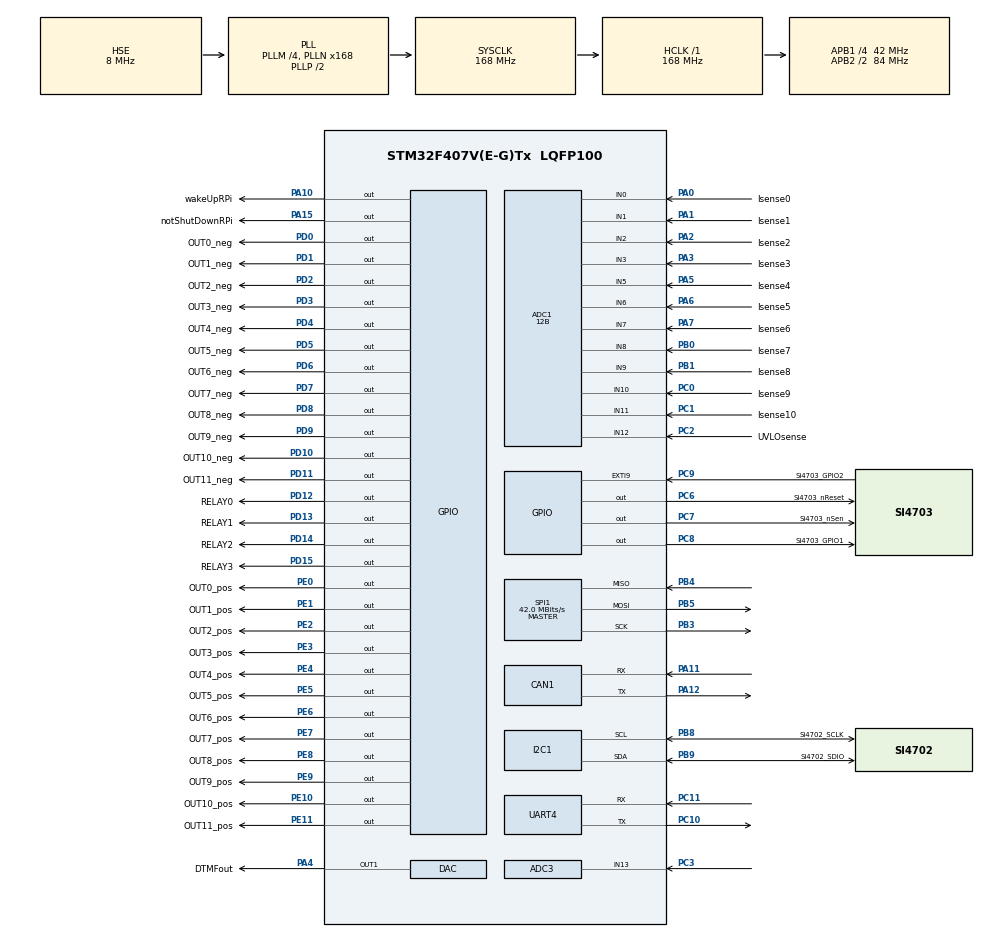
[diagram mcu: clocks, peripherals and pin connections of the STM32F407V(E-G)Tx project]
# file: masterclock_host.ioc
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ADC1.Channel-0\#ChannelRegularConversion=ADC_CHANNEL_0
ADC1.Channel-1\#ChannelRegularConversion=ADC_CHANNEL_1
ADC1.Channel-10\#ChannelRegularConversion=ADC_CHANNEL_11
ADC1.Channel-11\#ChannelRegularConversion=ADC_CHANNEL_12
ADC1.Channel-2\#ChannelRegularConversion=ADC_CHANNEL_2
ADC1.Channel-3\#ChannelRegularConversion=ADC_CHANNEL_3
ADC1.Channel-4\#ChannelRegularConversion=ADC_CHANNEL_5
ADC1.Channel-5\#ChannelRegularConversion=ADC_CHANNEL_6
ADC1.Channel-6\#ChannelRegularConversion=ADC_CHANNEL_7
ADC1.Channel-7\#ChannelRegularConversion=ADC_CHANNEL_8
ADC1.Channel-8\#ChannelRegularConversion=ADC_CHANNEL_9
ADC1.Channel-9\#ChannelRegularConversion=ADC_CHANNEL_10
ADC1.ContinuousConvMode=ENABLE
ADC1.DMAContinuousRequests=ENABLE
ADC1.DiscontinuousConvMode=DISABLE
ADC1.ExternalTrigConv=ADC_EXTERNALTRIGCONV_T2_TRGO
ADC1.NbrOfConversion=12
ADC1.NbrOfConversionFlag=1
ADC1.Rank-0\#ChannelRegularConversion=1
ADC1.Rank-1\#ChannelRegularConversion=2
ADC1.Rank-10\#ChannelRegularConversion=11
ADC1.Rank-11\#ChannelRegularConversion=12
ADC1.Rank-2\#ChannelRegularConversion=3
ADC1.Rank-3\#ChannelRegularConversion=4
ADC1.Rank-4\#ChannelRegularConversion=5
ADC1.Rank-5\#ChannelRegularConversion=6
ADC1.Rank-6\#ChannelRegularConversion=7
ADC1.Rank-7\#ChannelRegularConversion=8
ADC1.Rank-8\#ChannelRegularConversion=9
ADC1.Rank-9\#ChannelRegularConversion=10
ADC1.Resolution=ADC_RESOLUTION_12B
ADC1.SamplingTime-0\#ChannelRegularConversion=ADC_SAMPLETIME_480CYCLES
ADC1.SamplingTime-1\#ChannelRegularConversion=ADC_SAMPLETIME_480CYCLES
ADC1.SamplingTime-10\#ChannelRegularConversion=ADC_SAMPLETIME_3CYCLES
ADC1.SamplingTime-11\#ChannelRegularConversion=ADC_SAMPLETIME_3CYCLES
ADC1.SamplingTime-2\#ChannelRegularConversion=ADC_SAMPLETIME_480CYCLES
ADC1.SamplingTime-3\#ChannelRegularConversion=ADC_SAMPLETIME_480CYCLES
ADC1.SamplingTime-4\#ChannelRegularConversion=ADC_SAMPLETIME_480CYCLES
ADC1.SamplingTime-5\#ChannelRegularConversion=ADC_SAMPLETIME_3CYCLES
ADC1.SamplingTime-6\#ChannelRegularConversion=ADC_SAMPLETIME_3CYCLES
ADC1.SamplingTime-7\#ChannelRegularConversion=ADC_SAMPLETIME_3CYCLES
ADC1.SamplingTime-8\#ChannelRegularConversion=ADC_SAMPLETIME_3CYCLES
ADC1.SamplingTime-9\#ChannelRegularConversion=ADC_SAMPLETIME_3CYCLES
ADC1.ScanConvMode=ENABLE
ADC1.master=1
ADC2.Channel-3\#ChannelRegularConversion=ADC_CHANNEL_13
ADC2.ContinuousConvMode=ENABLE
ADC2.EOCSelection=ADC_EOC_SEQ_CONV
ADC2.EnableAnalogWatchDog=true
ADC2.ExternalTrigConv=ADC_EXTERNALTRIGCONV_T8_TRGO
ADC2.HighThreshold=4095
ADC2.ITMode=ENABLE
ADC2.LowThreshold=3000
ADC2.NbrOfConversion=1
ADC2.NbrOfConversionFlag=1
ADC2.Rank-3\#ChannelRegularConversion=1
ADC2.SamplingTime-3\#ChannelRegularConversion=ADC_SAMPLETIME_3CYCLES
ADC2.WatchdogChannel=ADC_CHANNEL_13
ADC3.Channel-0\#ChannelRegularConversion=ADC_CHANNEL_13
ADC3.EnableAnalogWatchDog=false
ADC3.NbrOfConversionFlag=1
ADC3.Rank-0\#ChannelRegularConversion=1
ADC3.SamplingTime-0\#ChannelRegularConversion=ADC_SAMPLETIME_3CYCLES
CAN1.CalculateTimeQuantum=380.95238095238096
Dma.ADC1.0.Direction=DMA_PERIPH_TO_MEMORY
Dma.ADC1.0.FIFOMode=DMA_FIFOMODE_ENABLE
Dma.ADC1.0.FIFOThreshold=DMA_FIFO_THRESHOLD_FULL
Dma.ADC1.0.Instance=DMA2_Stream0
Dma.ADC1.0.MemBurst=DMA_MBURST_SINGLE
Dma.ADC1.0.MemDataAlignment=DMA_MDATAALIGN_HALFWORD
Dma.ADC1.0.MemInc=DMA_MINC_ENABLE
Dma.ADC1.0.Mode=DMA_CIRCULAR
Dma.ADC1.0.PeriphBurst=DMA_PBURST_SINGLE
Dma.ADC1.0.PeriphDataAlignment=DMA_PDATAALIGN_HALFWORD
Dma.ADC1.0.PeriphInc=DMA_PINC_DISABLE
Dma.ADC1.0.Priority=DMA_PRIORITY_MEDIUM
Dma.Request0=ADC1
FREERTOS.Tasks01=linesControl,0,1024,StartLinesControl,Default,NULL,Dynamic,NULL,NULL;lineSensorTask,0,256,StartLineSensorTask,Default,NULL,Dynamic,NULL,NULL;uartTask,0,128,StartUartTask,Default,NULL,Dynamic,NULL,NULL;uvloTask,0,128,startUVLOTask,Default,NULL,Dynamic,NULL,NULL;si4703_Task,0,128,StartSi4703_Task,Default,NULL,Dynamic,NULL,NULL
FREERTOS.configTOTAL_HEAP_SIZE=32000
I2C1.DualAddressMode=I2C_DUALADDRESS_DISABLE
I2C1.GeneralCallMode=I2C_GENERALCALL_DISABLE
I2C1.I2C_Mode=I2C_Standard
I2C1.OwnAddress=0
Mcu.Family=STM32F4
Mcu.Name=STM32F407V(E-G)Tx
Mcu.Package=LQFP100
NVIC.ADC_IRQn=true\:5\:0\:false\:false\:true\:true\:true\:true
NVIC.DMA2_Stream0_IRQn=true\:5\:0\:true\:false\:true\:true\:false\:true
NVIC.EXTI9_5_IRQn=true\:5\:0\:false\:false\:true\:true\:true\:true
NVIC.PriorityGroup=NVIC_PRIORITYGROUP_4
NVIC.TIM1_UP_TIM10_IRQn=true\:0\:0\:false\:false\:true\:false\:false\:true
NVIC.TimeBase=TIM1_UP_TIM10_IRQn
NVIC.TimeBaseIP=TIM1
NVIC.UART4_IRQn=true\:5\:0\:false\:false\:true\:true\:true\:true
PA0-WKUP.GPIO_Label=Isense0
PA0-WKUP.Signal=ADCx_IN0
PA1.GPIO_Label=Isense1
PA1.Signal=ADCx_IN1
PA10.GPIO_Label=wakeUpRPi
PA10.Signal=GPIO_Output
PA11.Mode=Master
PA11.Signal=CAN1_RX
PA12.Mode=Master
PA12.Signal=CAN1_TX
PA13.Mode=Serial_Wire
PA13.Signal=SYS_JTMS-SWDIO
PA14.Mode=Serial_Wire
PA14.Signal=SYS_JTCK-SWCLK
PA15.GPIO_Label=notShutDownRPi
PA15.Signal=GPIO_Output
PA2.GPIO_Label=Isense2
PA2.Signal=ADCx_IN2
PA3.GPIO_Label=Isense3
PA3.Signal=ADCx_IN3
PA4.GPIO_Label=DTMFout
PA4.Signal=COMP_DAC1_group
PA5.GPIO_Label=Isense4
PA5.Signal=ADCx_IN5
PA6.GPIO_Label=Isense5
PA6.Signal=ADCx_IN6
PA7.GPIO_Label=Isense6
PA7.Signal=ADCx_IN7
PB0.GPIO_Label=Isense7
PB0.Signal=ADCx_IN8
PB1.GPIO_Label=Isense8
PB1.Signal=ADCx_IN9
PB3.Mode=Full_Duplex_Master
PB3.Signal=SPI1_SCK
PB4.Mode=Full_Duplex_Master
PB4.Signal=SPI1_MISO
PB5.Mode=Full_Duplex_Master
PB5.Signal=SPI1_MOSI
PB8.GPIO_Label=Si4702_SCLK
PB8.Mode=I2C
PB8.Signal=I2C1_SCL
PB9.GPIO_Label=Si4702_SDIO
PB9.Mode=I2C
PB9.Signal=I2C1_SDA
PC0.GPIO_Label=Isense9
PC0.Signal=ADCx_IN10
PC1.GPIO_Label=Isense10
PC1.Signal=ADCx_IN11
PC10.Mode=Asynchronous
PC10.Signal=UART4_TX
PC11.Mode=Asynchronous
PC11.Signal=UART4_RX
PC2.GPIO_Label=UVLOsense
PC2.Signal=ADCx_IN12
PC3.Signal=ADCx_IN13
PC6.GPIO_Label=Si4703_nReset
PC6.PinState=GPIO_PIN_SET
PC6.Signal=GPIO_Output
PC7.GPIO_Label=Si4703_nSen
PC7.GPIO_PuPd=GPIO_NOPULL
PC7.PinState=GPIO_PIN_SET
PC7.Signal=GPIO_Output
PC8.GPIO_Label=Si4703_GPIO1
PC8.Signal=GPIO_Output
PC9.GPIO_Label=Si4703_GPIO2
PC9.GPIO_ModeDefaultEXTI=GPIO_MODE_IT_FALLING
PC9.GPIO_PuPd=GPIO_PULLUP
PC9.Signal=GPXTI9
PD0.GPIO_Label=OUT0_neg
PD0.Signal=GPIO_Output
PD1.GPIO_Label=OUT1_neg
PD1.Signal=GPIO_Output
PD10.GPIO_Label=OUT10_neg
PD10.Signal=GPIO_Output
PD11.GPIO_Label=OUT11_neg
PD11.Signal=GPIO_Output
PD12.GPIO_Label=RELAY0
PD12.Signal=GPIO_Output
PD13.GPIO_Label=RELAY1
PD13.Signal=GPIO_Output
PD14.GPIO_Label=RELAY2
PD14.Signal=GPIO_Output
PD15.GPIO_Label=RELAY3
PD15.Signal=GPIO_Output
PD2.GPIO_Label=OUT2_neg
PD2.Signal=GPIO_Output
PD3.GPIO_Label=OUT3_neg
PD3.Signal=GPIO_Output
PD4.GPIO_Label=OUT4_neg
PD4.Signal=GPIO_Output
PD5.GPIO_Label=OUT5_neg
PD5.Signal=GPIO_Output
PD6.GPIO_Label=OUT6_neg
PD6.Signal=GPIO_Output
PD7.GPIO_Label=OUT7_neg
PD7.Signal=GPIO_Output
PD8.GPIO_Label=OUT8_neg
PD8.Signal=GPIO_Output
PD9.GPIO_Label=OUT9_neg
PD9.Signal=GPIO_Output
PE0.GPIO_Label=OUT0_pos
PE0.Signal=GPIO_Output
PE1.GPIO_Label=OUT1_pos
PE1.Signal=GPIO_Output
PE10.GPIO_Label=OUT10_pos
PE10.Signal=GPIO_Output
PE11.GPIO_Label=OUT11_pos
PE11.Signal=GPIO_Output
PE2.GPIO_Label=OUT2_pos
PE2.Signal=GPIO_Output
PE3.GPIO_Label=OUT3_pos
PE3.Signal=GPIO_Output
PE4.GPIO_Label=OUT4_pos
PE4.Signal=GPIO_Output
PE5.GPIO_Label=OUT5_pos
PE5.Signal=GPIO_Output
PE6.GPIO_Label=OUT6_pos
PE6.Signal=GPIO_Output
PE7.GPIO_Label=OUT7_pos
PE7.Signal=GPIO_Output
PE8.GPIO_Label=OUT8_pos
PE8.Signal=GPIO_Output
PE9.GPIO_Label=OUT9_pos
PE9.Signal=GPIO_Output
PH0-OSC_IN.Mode=HSE-External-Oscillator
PH0-OSC_IN.Signal=RCC_OSC_IN
PH1-OSC_OUT.Mode=HSE-External-Oscillator
PH1-OSC_OUT.Signal=RCC_OSC_OUT
ProjectManager.HeapSize=0x200
ProjectManager.StackSize=0x400
ProjectManager.TargetToolchain=STM32CubeIDE
RCC.48MHZClocksFreq_Value=84000000
RCC.AHBFreq_Value=168000000
RCC.APB1CLKDivider=RCC_HCLK_DIV4
RCC.APB1Freq_Value=42000000
RCC.APB1TimFreq_Value=84000000
RCC.APB2CLKDivider=RCC_HCLK_DIV2
RCC.APB2Freq_Value=84000000
RCC.APB2TimFreq_Value=168000000
RCC.CortexFreq_Value=168000000
RCC.HCLKFreq_Value=168000000
RCC.HSE_VALUE=8000000
RCC.HSI_VALUE=16000000
RCC.LSE_VALUE=32768
RCC.PLLM=4
RCC.PLLN=168
RCC.PLLSourceVirtual=RCC_PLLSOURCE_HSE
RCC.SYSCLKFreq_VALUE=168000000
RCC.SYSCLKSource=RCC_SYSCLKSOURCE_PLLCLK
RCC.VCOOutputFreq_Value=336000000
SH.ADCx_IN0.0=ADC1_IN0,IN0
SH.ADCx_IN1.0=ADC1_IN1,IN1
SH.ADCx_IN10.0=ADC1_IN10,IN10
SH.ADCx_IN11.0=ADC1_IN11,IN11
SH.ADCx_IN12.0=ADC1_IN12,IN12
SH.ADCx_IN13.0=ADC3_IN13,IN13
SH.ADCx_IN13.1=ADC2_IN13,IN13
SH.ADCx_IN2.0=ADC1_IN2,IN2
SH.ADCx_IN3.0=ADC1_IN3,IN3
SH.ADCx_IN5.0=ADC1_IN5,IN5
SH.ADCx_IN6.0=ADC1_IN6,IN6
SH.ADCx_IN7.0=ADC1_IN7,IN7
SH.ADCx_IN8.0=ADC1_IN8,IN8
SH.ADCx_IN9.0=ADC1_IN9,IN9
SH.COMP_DAC1_group.0=DAC_OUT1,DAC_OUT1
SPI1.CalculateBaudRate=42.0 MBits/s
SPI1.Direction=SPI_DIRECTION_2LINES
SPI1.Mode=SPI_MODE_MASTER
SPI1.VirtualType=VM_MASTER
TIM2.AutoReloadPreload=TIM_AUTORELOAD_PRELOAD_ENABLE
TIM2.Period=59999
TIM2.Prescaler=69
TIM2.TIM_MasterOutputTrigger=TIM_TRGO_UPDATE
TIM8.AutoReloadPreload=TIM_AUTORELOAD_PRELOAD_ENABLE
TIM8.Period=62449
TIM8.Prescaler=335
TIM8.TIM_MasterOutputTrigger=TIM_TRGO_UPDATE
UART4.VirtualMode=Asynchronous
VP_CRC_VS_CRC.Mode=CRC_Activate
VP_FREERTOS_VS_CMSIS_V1.Mode=CMSIS_V1
VP_SYS_VS_tim1.Mode=TIM1
VP_TIM2_VS_ClockSourceINT.Mode=Internal
VP_TIM8_VS_ClockSourceINT.Mode=Internal
board=custom

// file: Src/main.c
/* USER CODE BEGIN Header */
/**
 ******************************************************************************
 * @file           : main.c
 * @brief          : Main program body
 ******************************************************************************
 * @attention
 *
 * <h2><center>&copy; Copyright (c) 2019 STMicroelectronics.
 * All rights reserved.</center></h2>
 *
 * This software component is licensed by ST under BSD 3-Clause license,
 * the "License"; You may not use this file except in compliance with the
 * License. You may obtain a copy of the License at:
 *                        opensource.org/licenses/BSD-3-Clause
 *
 ******************************************************************************
 */
/* USER CODE END Header */

#include "main.h"
#include "cmsis_os.h"

/* USER CODE BEGIN Includes */
#include "message.h"
#include "clocklines.h"
#include "currentsensors.h"
#include "uartcmd.h"
#include "si4703.h"
/* USER CODE END Includes */

/* USER CODE BEGIN PTD */

extern uint8_t uartDataFrame[32];
extern uint16_t clockLines_pulseWidth;
extern uint8_t clockLines_isCountersEmpty;
extern ClockLineCurrentSensor clockLineCurrentSensor;
extern uint8_t CLOCKLINES_TOTAL;
volatile SemaphoreHandle_t uartSemaphoreHandle;
volatile SemaphoreHandle_t lineSensorSemaphoreHandle;
volatile SemaphoreHandle_t uvloSemaphoreHandle;
volatile SemaphoreHandle_t Si4703SemaphoreHandle;
volatile SemaphoreHandle_t Si4703MutexHandle;
portBASE_TYPE xHigherPriorityTaskWoken;
/* USER CODE END PTD */

ADC_HandleTypeDef hadc1;
ADC_HandleTypeDef hadc2;
ADC_HandleTypeDef hadc3;
DMA_HandleTypeDef hdma_adc1;

CAN_HandleTypeDef hcan1;

CRC_HandleTypeDef hcrc;

DAC_HandleTypeDef hdac;

I2C_HandleTypeDef hi2c1;

SPI_HandleTypeDef hspi1;

TIM_HandleTypeDef htim2;
TIM_HandleTypeDef htim8;

UART_HandleTypeDef huart4;

osThreadId linesControlHandle;
osThreadId lineSensorTaskHandle;
osThreadId uartTaskHandle;
osThreadId uvloTaskHandle;
osThreadId si4703_TaskHandle;

void SystemClock_Config(void);
static void MX_GPIO_Init(void);
static void MX_DMA_Init(void);
static void MX_ADC1_Init(void);
static void MX_ADC2_Init(void);
static void MX_ADC3_Init(void);
static void MX_CAN1_Init(void);
static void MX_CRC_Init(void);
static void MX_DAC_Init(void);
static void MX_SPI1_Init(void);
static void MX_UART4_Init(void);
static void MX_TIM2_Init(void);
static void MX_TIM8_Init(void);
static void MX_I2C1_Init(void);
void StartLinesControl(void const * argument);
void StartLineSensorTask(void const * argument);
void StartUartTask(void const * argument);
void startUVLOTask(void const * argument);
void StartSi4703_Task(void const * argument);

/* USER CODE BEGIN 0 */

void HAL_UART_RxCpltCallback(UART_HandleTypeDef* huart){
	static portBASE_TYPE xHigherPriorityTaskWoken;
	xHigherPriorityTaskWoken = pdFALSE;
	HAL_UART_Receive_IT(&huart4, uartDataFrame, sizeof(uartDataFrame));
	xSemaphoreGiveFromISR(uartSemaphoreHandle, &xHigherPriorityTaskWoken );
}
void HAL_ADC_ConvCpltCallback(ADC_HandleTypeDef* hadc)
{
	if (hadc->Instance==ADC1)
	{
		static uint8_t count=0;
		static portBASE_TYPE xHigherPriorityTaskWoken;
		xHigherPriorityTaskWoken = pdFALSE;
		if (count==5){
			count=0;
		}
		count++;
		//HAL_ADC_Start_DMA(hadc, (uint32_t*) clockLineCurrentSensor.adc_data, clockLineCurrentSensor.totalLines);
		xSemaphoreGiveFromISR(lineSensorSemaphoreHandle, &xHigherPriorityTaskWoken );
	}

}
void HAL_ADC_LevelOutOfWindowCallback(ADC_HandleTypeDef* hadc)
{
	if (hadc->Instance==ADC2){
		ADC2->CR1&=~ADC_CR1_AWDEN;												//disable AWD
		xSemaphoreGiveFromISR(uvloSemaphoreHandle, &xHigherPriorityTaskWoken);
	}

}
void HAL_GPIO_EXTI_Callback(uint16_t GPIO_Pin){
	if(GPIO_Pin==Si4703_GPIO2_Pin)
	{
		HAL_NVIC_DisableIRQ(EXTI9_5_IRQn);
		xSemaphoreGiveFromISR(Si4703SemaphoreHandle, &xHigherPriorityTaskWoken);
	}
}
/* USER CODE END 0 */

int main(void)
{
  /* USER CODE BEGIN 1 */
	CLOCKLINES_TOTAL=4;
  /* USER CODE END 1 */

  /* MCU Configuration--------------------------------------------------------*/

  /* Reset of all peripherals, Initializes the Flash interface and the Systick. */
  HAL_Init();

  /* Configure the system clock */
  SystemClock_Config();

  /* Initialize all configured peripherals */
  MX_GPIO_Init();
  MX_DMA_Init();
  MX_ADC1_Init();
  MX_ADC2_Init();
  MX_ADC3_Init();
  MX_CAN1_Init();
  MX_CRC_Init();
  MX_DAC_Init();
  MX_SPI1_Init();
  MX_UART4_Init();
  MX_TIM2_Init();
  MX_TIM8_Init();
  MX_I2C1_Init();
  /* USER CODE BEGIN 2 */
  notShutDownRPi_GPIO_Port->BSRR |= notShutDownRPi_Pin<<16;
  HAL_UART_Receive_IT(&huart4, uartDataFrame, sizeof(uartDataFrame));

  /* USER CODE END 2 */

  /* USER CODE BEGIN RTOS_SEMAPHORES */
  uartSemaphoreHandle = xSemaphoreCreateBinary();
  lineSensorSemaphoreHandle = xSemaphoreCreateBinary();
  uvloSemaphoreHandle = xSemaphoreCreateBinary();
  Si4703SemaphoreHandle = xSemaphoreCreateBinary();
  Si4703MutexHandle = xSemaphoreCreateMutex();
  xHigherPriorityTaskWoken = pdFALSE;
	/* add semaphores, ... */
  /* USER CODE END RTOS_SEMAPHORES */

  /* Create the thread(s) */
  /* definition and creation of linesControl */
  osThreadDef(linesControl, StartLinesControl, osPriorityNormal, 0, 1024);
  linesControlHandle = osThreadCreate(osThread(linesControl), NULL);

  /* definition and creation of lineSensorTask */
  osThreadDef(lineSensorTask, StartLineSensorTask, osPriorityNormal, 0, 256);
  lineSensorTaskHandle = osThreadCreate(osThread(lineSensorTask), NULL);

  /* definition and creation of uartTask */
  osThreadDef(uartTask, StartUartTask, osPriorityNormal, 0, 128);
  uartTaskHandle = osThreadCreate(osThread(uartTask), NULL);

  /* definition and creation of uvloTask */
  osThreadDef(uvloTask, startUVLOTask, osPriorityNormal, 0, 128);
  uvloTaskHandle = osThreadCreate(osThread(uvloTask), NULL);

  /* definition and creation of si4703_Task */
  osThreadDef(si4703_Task, StartSi4703_Task, osPriorityNormal, 0, 128);
  si4703_TaskHandle = osThreadCreate(osThread(si4703_Task), NULL);

  /* Start scheduler */
  osKernelStart();

  /* We should never get here as control is now taken by the scheduler */

  /* Infinite loop */
	while (1)
	{

	}
}

void SystemClock_Config(void)
{
  RCC_OscInitTypeDef RCC_OscInitStruct = {0};
  RCC_ClkInitTypeDef RCC_ClkInitStruct = {0};

  /** Configure the main internal regulator output voltage
  */
  __HAL_RCC_PWR_CLK_ENABLE();
  __HAL_PWR_VOLTAGESCALING_CONFIG(PWR_REGULATOR_VOLTAGE_SCALE1);
  /** Initializes the CPU, AHB and APB busses clocks
  */
  RCC_OscInitStruct.OscillatorType = RCC_OSCILLATORTYPE_HSE;
  RCC_OscInitStruct.HSEState = RCC_HSE_ON;
  RCC_OscInitStruct.PLL.PLLState = RCC_PLL_ON;
  RCC_OscInitStruct.PLL.PLLSource = RCC_PLLSOURCE_HSE;
  RCC_OscInitStruct.PLL.PLLM = 4;
  RCC_OscInitStruct.PLL.PLLN = 168;
  RCC_OscInitStruct.PLL.PLLP = RCC_PLLP_DIV2;
  RCC_OscInitStruct.PLL.PLLQ = 4;
  if (HAL_RCC_OscConfig(&RCC_OscInitStruct) != HAL_OK)
  {
    Error_Handler();
  }
  /** Initializes the CPU, AHB and APB busses clocks
  */
  RCC_ClkInitStruct.ClockType = RCC_CLOCKTYPE_HCLK|RCC_CLOCKTYPE_SYSCLK
                              |RCC_CLOCKTYPE_PCLK1|RCC_CLOCKTYPE_PCLK2;
  RCC_ClkInitStruct.SYSCLKSource = RCC_SYSCLKSOURCE_PLLCLK;
  RCC_ClkInitStruct.AHBCLKDivider = RCC_SYSCLK_DIV1;
  RCC_ClkInitStruct.APB1CLKDivider = RCC_HCLK_DIV4;
  RCC_ClkInitStruct.APB2CLKDivider = RCC_HCLK_DIV2;

  if (HAL_RCC_ClockConfig(&RCC_ClkInitStruct, FLASH_LATENCY_5) != HAL_OK)
  {
    Error_Handler();
  }
}

static void MX_ADC1_Init(void)
{

  ADC_ChannelConfTypeDef sConfig = {0};

  /** Configure the global features of the ADC (Clock, Resolution, Data Alignment and number of conversion)
  */
  hadc1.Instance = ADC1;
  hadc1.Init.ClockPrescaler = ADC_CLOCK_SYNC_PCLK_DIV4;
  hadc1.Init.Resolution = ADC_RESOLUTION_12B;
  hadc1.Init.ScanConvMode = ENABLE;
  hadc1.Init.ContinuousConvMode = ENABLE;
  hadc1.Init.DiscontinuousConvMode = DISABLE;
  hadc1.Init.ExternalTrigConvEdge = ADC_EXTERNALTRIGCONVEDGE_RISING;
  hadc1.Init.ExternalTrigConv = ADC_EXTERNALTRIGCONV_T2_TRGO;
  hadc1.Init.DataAlign = ADC_DATAALIGN_RIGHT;
  hadc1.Init.NbrOfConversion = 12;
  hadc1.Init.DMAContinuousRequests = ENABLE;
  hadc1.Init.EOCSelection = ADC_EOC_SINGLE_CONV;
  if (HAL_ADC_Init(&hadc1) != HAL_OK)
  {
    Error_Handler();
  }
  /** Configure for the selected ADC regular channel its corresponding rank in the sequencer and its sample time.
  */
  sConfig.Channel = ADC_CHANNEL_0;
  sConfig.Rank = 1;
  sConfig.SamplingTime = ADC_SAMPLETIME_480CYCLES;
  if (HAL_ADC_ConfigChannel(&hadc1, &sConfig) != HAL_OK)
  {
    Error_Handler();
  }
  /** Configure for the selected ADC regular channel its corresponding rank in the sequencer and its sample time.
  */
  sConfig.Channel = ADC_CHANNEL_1;
  sConfig.Rank = 2;
  if (HAL_ADC_ConfigChannel(&hadc1, &sConfig) != HAL_OK)
  {
    Error_Handler();
  }
  /** Configure for the selected ADC regular channel its corresponding rank in the sequencer and its sample time.
  */
  sConfig.Channel = ADC_CHANNEL_2;
  sConfig.Rank = 3;
  if (HAL_ADC_ConfigChannel(&hadc1, &sConfig) != HAL_OK)
  {
    Error_Handler();
  }
  /** Configure for the selected ADC regular channel its corresponding rank in the sequencer and its sample time.
  */
  sConfig.Channel = ADC_CHANNEL_3;
  sConfig.Rank = 4;
  if (HAL_ADC_ConfigChannel(&hadc1, &sConfig) != HAL_OK)
  {
    Error_Handler();
  }
  /** Configure for the selected ADC regular channel its corresponding rank in the sequencer and its sample time.
  */
  sConfig.Channel = ADC_CHANNEL_5;
  sConfig.Rank = 5;
  if (HAL_ADC_ConfigChannel(&hadc1, &sConfig) != HAL_OK)
  {
    Error_Handler();
  }
  /** Configure for the selected ADC regular channel its corresponding rank in the sequencer and its sample time.
  */
  sConfig.Channel = ADC_CHANNEL_6;
  sConfig.Rank = 6;
  sConfig.SamplingTime = ADC_SAMPLETIME_3CYCLES;
  if (HAL_ADC_ConfigChannel(&hadc1, &sConfig) != HAL_OK)
  {
    Error_Handler();
  }
  /** Configure for the selected ADC regular channel its corresponding rank in the sequencer and its sample time.
  */
  sConfig.Channel = ADC_CHANNEL_7;
  sConfig.Rank = 7;
  if (HAL_ADC_ConfigChannel(&hadc1, &sConfig) != HAL_OK)
  {
    Error_Handler();
  }
  /** Configure for the selected ADC regular channel its corresponding rank in the sequencer and its sample time.
  */
  sConfig.Channel = ADC_CHANNEL_8;
  sConfig.Rank = 8;
  if (HAL_ADC_ConfigChannel(&hadc1, &sConfig) != HAL_OK)
  {
    Error_Handler();
  }
  /** Configure for the selected ADC regular channel its corresponding rank in the sequencer and its sample time.
  */
  sConfig.Channel = ADC_CHANNEL_9;
  sConfig.Rank = 9;
  if (HAL_ADC_ConfigChannel(&hadc1, &sConfig) != HAL_OK)
  {
    Error_Handler();
  }
  /** Configure for the selected ADC regular channel its corresponding rank in the sequencer and its sample time.
  */
  sConfig.Channel = ADC_CHANNEL_10;
  sConfig.Rank = 10;
  if (HAL_ADC_ConfigChannel(&hadc1, &sConfig) != HAL_OK)
  {
    Error_Handler();
  }
  /** Configure for the selected ADC regular channel its corresponding rank in the sequencer and its sample time.
  */
  sConfig.Channel = ADC_CHANNEL_11;
  sConfig.Rank = 11;
  if (HAL_ADC_ConfigChannel(&hadc1, &sConfig) != HAL_OK)
  {
    Error_Handler();
  }
  /** Configure for the selected ADC regular channel its corresponding rank in the sequencer and its sample time.
  */
  sConfig.Channel = ADC_CHANNEL_12;
  sConfig.Rank = 12;
  if (HAL_ADC_ConfigChannel(&hadc1, &sConfig) != HAL_OK)
  {
    Error_Handler();
  }

}

static void MX_ADC2_Init(void)
{

  ADC_AnalogWDGConfTypeDef AnalogWDGConfig = {0};
  ADC_ChannelConfTypeDef sConfig = {0};

  /** Configure the global features of the ADC (Clock, Resolution, Data Alignment and number of conversion)
  */
  hadc2.Instance = ADC2;
  hadc2.Init.ClockPrescaler = ADC_CLOCK_SYNC_PCLK_DIV4;
  hadc2.Init.Resolution = ADC_RESOLUTION_12B;
  hadc2.Init.ScanConvMode = DISABLE;
  hadc2.Init.ContinuousConvMode = ENABLE;
  hadc2.Init.DiscontinuousConvMode = DISABLE;
  hadc2.Init.ExternalTrigConvEdge = ADC_EXTERNALTRIGCONVEDGE_RISING;
  hadc2.Init.ExternalTrigConv = ADC_EXTERNALTRIGCONV_T8_TRGO;
  hadc2.Init.DataAlign = ADC_DATAALIGN_RIGHT;
  hadc2.Init.NbrOfConversion = 1;
  hadc2.Init.DMAContinuousRequests = DISABLE;
  hadc2.Init.EOCSelection = ADC_EOC_SEQ_CONV;
  if (HAL_ADC_Init(&hadc2) != HAL_OK)
  {
    Error_Handler();
  }
  /** Configure the analog watchdog
  */
  AnalogWDGConfig.WatchdogMode = ADC_ANALOGWATCHDOG_SINGLE_REG;
  AnalogWDGConfig.HighThreshold = 4095;
  AnalogWDGConfig.LowThreshold = 3000;
  AnalogWDGConfig.Channel = ADC_CHANNEL_13;
  AnalogWDGConfig.ITMode = ENABLE;
  if (HAL_ADC_AnalogWDGConfig(&hadc2, &AnalogWDGConfig) != HAL_OK)
  {
    Error_Handler();
  }
  /** Configure for the selected ADC regular channel its corresponding rank in the sequencer and its sample time.
  */
  sConfig.Channel = ADC_CHANNEL_13;
  sConfig.Rank = 1;
  sConfig.SamplingTime = ADC_SAMPLETIME_3CYCLES;
  if (HAL_ADC_ConfigChannel(&hadc2, &sConfig) != HAL_OK)
  {
    Error_Handler();
  }

}

static void MX_ADC3_Init(void)
{

  ADC_ChannelConfTypeDef sConfig = {0};

  /** Configure the global features of the ADC (Clock, Resolution, Data Alignment and number of conversion)
  */
  hadc3.Instance = ADC3;
  hadc3.Init.ClockPrescaler = ADC_CLOCK_SYNC_PCLK_DIV4;
  hadc3.Init.Resolution = ADC_RESOLUTION_12B;
  hadc3.Init.ScanConvMode = DISABLE;
  hadc3.Init.ContinuousConvMode = DISABLE;
  hadc3.Init.DiscontinuousConvMode = DISABLE;
  hadc3.Init.ExternalTrigConvEdge = ADC_EXTERNALTRIGCONVEDGE_NONE;
  hadc3.Init.ExternalTrigConv = ADC_SOFTWARE_START;
  hadc3.Init.DataAlign = ADC_DATAALIGN_RIGHT;
  hadc3.Init.NbrOfConversion = 1;
  hadc3.Init.DMAContinuousRequests = DISABLE;
  hadc3.Init.EOCSelection = ADC_EOC_SINGLE_CONV;
  if (HAL_ADC_Init(&hadc3) != HAL_OK)
  {
    Error_Handler();
  }
  /** Configure for the selected ADC regular channel its corresponding rank in the sequencer and its sample time.
  */
  sConfig.Channel = ADC_CHANNEL_13;
  sConfig.Rank = 1;
  sConfig.SamplingTime = ADC_SAMPLETIME_3CYCLES;
  if (HAL_ADC_ConfigChannel(&hadc3, &sConfig) != HAL_OK)
  {
    Error_Handler();
  }

}

static void MX_CAN1_Init(void)
{

  hcan1.Instance = CAN1;
  hcan1.Init.Prescaler = 16;
  hcan1.Init.Mode = CAN_MODE_NORMAL;
  hcan1.Init.SyncJumpWidth = CAN_SJW_1TQ;
  hcan1.Init.TimeSeg1 = CAN_BS1_1TQ;
  hcan1.Init.TimeSeg2 = CAN_BS2_1TQ;
  hcan1.Init.TimeTriggeredMode = DISABLE;
  hcan1.Init.AutoBusOff = DISABLE;
  hcan1.Init.AutoWakeUp = DISABLE;
  hcan1.Init.AutoRetransmission = DISABLE;
  hcan1.Init.ReceiveFifoLocked = DISABLE;
  hcan1.Init.TransmitFifoPriority = DISABLE;
  if (HAL_CAN_Init(&hcan1) != HAL_OK)
  {
    Error_Handler();
  }

}

static void MX_CRC_Init(void)
{

  hcrc.Instance = CRC;
  if (HAL_CRC_Init(&hcrc) != HAL_OK)
  {
    Error_Handler();
  }

}

static void MX_DAC_Init(void)
{

  DAC_ChannelConfTypeDef sConfig = {0};

  /** DAC Initialization
  */
  hdac.Instance = DAC;
  if (HAL_DAC_Init(&hdac) != HAL_OK)
  {
    Error_Handler();
  }
  /** DAC channel OUT1 config
  */
  sConfig.DAC_Trigger = DAC_TRIGGER_NONE;
  sConfig.DAC_OutputBuffer = DAC_OUTPUTBUFFER_ENABLE;
  if (HAL_DAC_ConfigChannel(&hdac, &sConfig, DAC_CHANNEL_1) != HAL_OK)
  {
    Error_Handler();
  }

}

static void MX_I2C1_Init(void)
{

  hi2c1.Instance = I2C1;
  hi2c1.Init.ClockSpeed = 100000;
  hi2c1.Init.DutyCycle = I2C_DUTYCYCLE_2;
  hi2c1.Init.OwnAddress1 = 0;
  hi2c1.Init.AddressingMode = I2C_ADDRESSINGMODE_7BIT;
  hi2c1.Init.DualAddressMode = I2C_DUALADDRESS_DISABLE;
  hi2c1.Init.OwnAddress2 = 0;
  hi2c1.Init.GeneralCallMode = I2C_GENERALCALL_DISABLE;
  hi2c1.Init.NoStretchMode = I2C_NOSTRETCH_DISABLE;
  if (HAL_I2C_Init(&hi2c1) != HAL_OK)
  {
    Error_Handler();
  }
  /* USER CODE BEGIN I2C1_Init 2 */
  hi2c1.Instance->CR2 |= I2C_CR2_LAST;
  /* USER CODE END I2C1_Init 2 */

}

static void MX_SPI1_Init(void)
{

  /* SPI1 parameter configuration*/
  hspi1.Instance = SPI1;
  hspi1.Init.Mode = SPI_MODE_MASTER;
  hspi1.Init.Direction = SPI_DIRECTION_2LINES;
  hspi1.Init.DataSize = SPI_DATASIZE_8BIT;
  hspi1.Init.CLKPolarity = SPI_POLARITY_LOW;
  hspi1.Init.CLKPhase = SPI_PHASE_1EDGE;
  hspi1.Init.NSS = SPI_NSS_SOFT;
  hspi1.Init.BaudRatePrescaler = SPI_BAUDRATEPRESCALER_2;
  hspi1.Init.FirstBit = SPI_FIRSTBIT_MSB;
  hspi1.Init.TIMode = SPI_TIMODE_DISABLE;
  hspi1.Init.CRCCalculation = SPI_CRCCALCULATION_DISABLE;
  hspi1.Init.CRCPolynomial = 10;
  if (HAL_SPI_Init(&hspi1) != HAL_OK)
  {
    Error_Handler();
  }

}

static void MX_TIM2_Init(void)
{

  TIM_ClockConfigTypeDef sClockSourceConfig = {0};
  TIM_MasterConfigTypeDef sMasterConfig = {0};

  htim2.Instance = TIM2;
  htim2.Init.Prescaler = 69;
  htim2.Init.CounterMode = TIM_COUNTERMODE_UP;
  htim2.Init.Period = 59999;
  htim2.Init.ClockDivision = TIM_CLOCKDIVISION_DIV1;
  htim2.Init.AutoReloadPreload = TIM_AUTORELOAD_PRELOAD_ENABLE;
  if (HAL_TIM_Base_Init(&htim2) != HAL_OK)
  {
    Error_Handler();
  }
  sClockSourceConfig.ClockSource = TIM_CLOCKSOURCE_INTERNAL;
  if (HAL_TIM_ConfigClockSource(&htim2, &sClockSourceConfig) != HAL_OK)
  {
    Error_Handler();
  }
  sMasterConfig.MasterOutputTrigger = TIM_TRGO_UPDATE;
  sMasterConfig.MasterSlaveMode = TIM_MASTERSLAVEMODE_DISABLE;
  if (HAL_TIMEx_MasterConfigSynchronization(&htim2, &sMasterConfig) != HAL_OK)
  {
    Error_Handler();
  }

}

static void MX_TIM8_Init(void)
{

  TIM_ClockConfigTypeDef sClockSourceConfig = {0};
  TIM_MasterConfigTypeDef sMasterConfig = {0};

  htim8.Instance = TIM8;
  htim8.Init.Prescaler = 335;
  htim8.Init.CounterMode = TIM_COUNTERMODE_UP;
  htim8.Init.Period = 62449;
  htim8.Init.ClockDivision = TIM_CLOCKDIVISION_DIV1;
  htim8.Init.RepetitionCounter = 0;
  htim8.Init.AutoReloadPreload = TIM_AUTORELOAD_PRELOAD_ENABLE;
  if (HAL_TIM_Base_Init(&htim8) != HAL_OK)
  {
    Error_Handler();
  }
  sClockSourceConfig.ClockSource = TIM_CLOCKSOURCE_INTERNAL;
  if (HAL_TIM_ConfigClockSource(&htim8, &sClockSourceConfig) != HAL_OK)
  {
    Error_Handler();
  }
  sMasterConfig.MasterOutputTrigger = TIM_TRGO_UPDATE;
  sMasterConfig.MasterSlaveMode = TIM_MASTERSLAVEMODE_DISABLE;
  if (HAL_TIMEx_MasterConfigSynchronization(&htim8, &sMasterConfig) != HAL_OK)
  {
    Error_Handler();
  }

}

static void MX_UART4_Init(void)
{

  huart4.Instance = UART4;
  huart4.Init.BaudRate = 115200;
  huart4.Init.WordLength = UART_WORDLENGTH_8B;
  huart4.Init.StopBits = UART_STOPBITS_1;
  huart4.Init.Parity = UART_PARITY_NONE;
  huart4.Init.Mode = UART_MODE_TX_RX;
  huart4.Init.HwFlowCtl = UART_HWCONTROL_NONE;
  huart4.Init.OverSampling = UART_OVERSAMPLING_16;
  if (HAL_UART_Init(&huart4) != HAL_OK)
  {
    Error_Handler();
  }

}

static void MX_DMA_Init(void)
{

  /* DMA controller clock enable */
  __HAL_RCC_DMA2_CLK_ENABLE();

  /* DMA interrupt init */
  /* DMA2_Stream0_IRQn interrupt configuration */
  HAL_NVIC_SetPriority(DMA2_Stream0_IRQn, 5, 0);
  HAL_NVIC_EnableIRQ(DMA2_Stream0_IRQn);

}

static void MX_GPIO_Init(void)
{
  GPIO_InitTypeDef GPIO_InitStruct = {0};

  /* GPIO Ports Clock Enable */
  __HAL_RCC_GPIOE_CLK_ENABLE();
  __HAL_RCC_GPIOH_CLK_ENABLE();
  __HAL_RCC_GPIOC_CLK_ENABLE();
  __HAL_RCC_GPIOA_CLK_ENABLE();
  __HAL_RCC_GPIOB_CLK_ENABLE();
  __HAL_RCC_GPIOD_CLK_ENABLE();
  Si4703_I2C_Init();
  /*Configure GPIO pin Output Level */
  HAL_GPIO_WritePin(GPIOE, OUT2_pos_Pin|OUT3_pos_Pin|OUT4_pos_Pin|OUT5_pos_Pin
                          |OUT6_pos_Pin|OUT7_pos_Pin|OUT8_pos_Pin|OUT9_pos_Pin
                          |OUT10_pos_Pin|OUT11_pos_Pin|OUT0_pos_Pin|OUT1_pos_Pin, GPIO_PIN_RESET);

  /*Configure GPIO pin Output Level */
  HAL_GPIO_WritePin(GPIOD, OUT8_neg_Pin|OUT9_neg_Pin|OUT10_neg_Pin|OUT11_neg_Pin
                          |RELAY0_Pin|RELAY1_Pin|RELAY2_Pin|RELAY3_Pin
                          |OUT0_neg_Pin|OUT1_neg_Pin|OUT2_neg_Pin|OUT3_neg_Pin
                          |OUT4_neg_Pin|OUT5_neg_Pin|OUT6_neg_Pin|OUT7_neg_Pin, GPIO_PIN_RESET);

  /*Configure GPIO pin Output Level */
  HAL_GPIO_WritePin(GPIOC, Si4703_nReset_Pin|Si4703_nSen_Pin, GPIO_PIN_SET);

  /*Configure GPIO pin Output Level */
  HAL_GPIO_WritePin(Si4703_GPIO1_GPIO_Port, Si4703_GPIO1_Pin, GPIO_PIN_RESET);

  /*Configure GPIO pin Output Level */
  HAL_GPIO_WritePin(GPIOA, wakeUpRPi_Pin|notShutDownRPi_Pin, GPIO_PIN_RESET);

  /*Configure GPIO pins : OUT2_pos_Pin OUT3_pos_Pin OUT4_pos_Pin OUT5_pos_Pin
                           OUT6_pos_Pin OUT7_pos_Pin OUT8_pos_Pin OUT9_pos_Pin
                           OUT10_pos_Pin OUT11_pos_Pin OUT0_pos_Pin OUT1_pos_Pin */
  GPIO_InitStruct.Pin = OUT2_pos_Pin|OUT3_pos_Pin|OUT4_pos_Pin|OUT5_pos_Pin
                          |OUT6_pos_Pin|OUT7_pos_Pin|OUT8_pos_Pin|OUT9_pos_Pin
                          |OUT10_pos_Pin|OUT11_pos_Pin|OUT0_pos_Pin|OUT1_pos_Pin;
  GPIO_InitStruct.Mode = GPIO_MODE_OUTPUT_PP;
  GPIO_InitStruct.Pull = GPIO_NOPULL;
  GPIO_InitStruct.Speed = GPIO_SPEED_FREQ_LOW;
  HAL_GPIO_Init(GPIOE, &GPIO_InitStruct);

  /*Configure GPIO pins : OUT8_neg_Pin OUT9_neg_Pin OUT10_neg_Pin OUT11_neg_Pin
                           RELAY0_Pin RELAY1_Pin RELAY2_Pin RELAY3_Pin
                           OUT0_neg_Pin OUT1_neg_Pin OUT2_neg_Pin OUT3_neg_Pin
                           OUT4_neg_Pin OUT5_neg_Pin OUT6_neg_Pin OUT7_neg_Pin */
  GPIO_InitStruct.Pin = OUT8_neg_Pin|OUT9_neg_Pin|OUT10_neg_Pin|OUT11_neg_Pin
                          |RELAY0_Pin|RELAY1_Pin|RELAY2_Pin|RELAY3_Pin
                          |OUT0_neg_Pin|OUT1_neg_Pin|OUT2_neg_Pin|OUT3_neg_Pin
                          |OUT4_neg_Pin|OUT5_neg_Pin|OUT6_neg_Pin|OUT7_neg_Pin;
  GPIO_InitStruct.Mode = GPIO_MODE_OUTPUT_PP;
  GPIO_InitStruct.Pull = GPIO_NOPULL;
  GPIO_InitStruct.Speed = GPIO_SPEED_FREQ_LOW;
  HAL_GPIO_Init(GPIOD, &GPIO_InitStruct);

  /*Configure GPIO pins : Si4703_nReset_Pin Si4703_nSen_Pin Si4703_GPIO1_Pin */
  GPIO_InitStruct.Pin = Si4703_nReset_Pin|Si4703_nSen_Pin|Si4703_GPIO1_Pin;
  GPIO_InitStruct.Mode = GPIO_MODE_OUTPUT_PP;
  GPIO_InitStruct.Pull = GPIO_NOPULL;
  GPIO_InitStruct.Speed = GPIO_SPEED_FREQ_LOW;
  HAL_GPIO_Init(GPIOC, &GPIO_InitStruct);

  /*Configure GPIO pin : Si4703_GPIO2_Pin */
  GPIO_InitStruct.Pin = Si4703_GPIO2_Pin;
  GPIO_InitStruct.Mode = GPIO_MODE_IT_FALLING;
  GPIO_InitStruct.Pull = GPIO_PULLUP;
  HAL_GPIO_Init(Si4703_GPIO2_GPIO_Port, &GPIO_InitStruct);

  /*Configure GPIO pins : wakeUpRPi_Pin notShutDownRPi_Pin */
  GPIO_InitStruct.Pin = wakeUpRPi_Pin|notShutDownRPi_Pin;
  GPIO_InitStruct.Mode = GPIO_MODE_OUTPUT_PP;
  GPIO_InitStruct.Pull = GPIO_NOPULL;
  GPIO_InitStruct.Speed = GPIO_SPEED_FREQ_LOW;
  HAL_GPIO_Init(GPIOA, &GPIO_InitStruct);

  /* EXTI interrupt init*/
  HAL_NVIC_SetPriority(EXTI9_5_IRQn, 5, 0);
  //HAL_NVIC_EnableIRQ(EXTI9_5_IRQn);

}

void StartLinesControl(void const * argument)
{

  /* USER CODE BEGIN 5 */
	int8_t linesId[12];
	resetLinesId(linesId);
	/* Infinite loop */
	for (;;)
	{
		if (!clockLines_isCountersEmpty){
			for (uint8_t id=0,j=0; id<12; id++)
			{
				if (clockLines[id].counter && clockLines[id].isOn)
				{
					clockLines[id].polarity=!clockLines[id].polarity;
					linesId[j]=(int8_t)id;
					j++;
				}
			}
			if(linesId[0]>=0)
			{
				//start pulse
				sendPulse(clockLines,linesId,CLOCKLINES_TOTAL, &LinesGPIO);
				startClockLinesADC(&hadc1, &clockLineCurrentSensor, linesId);
				sendCountersToUART(&huart4, clockLines, linesId);
				sendPolarityToUART(&huart4, clockLines, linesId);
				osDelay(clockLines_pulseWidth);
				//stop pulse
				stopClockLinesADC(&hadc1);
				stopPulse(&LinesGPIO);
				sendCurrentSensorsToUART(&huart4, clockLineCurrentSensor.filteredData, RESP_ADC_LINES, linesId);
				resetClockLineCurrentSensor(&clockLineCurrentSensor);
				osDelay(DEATH_TIME);
				resetLinesId(linesId);
			}
			clockLines_isCountersEmpty=1;
			for (uint8_t id=0; id<12; id++)
			{
				if (clockLines[id].counter)
				{
					clockLines[id].counter--;
					clockLines_isCountersEmpty=0;
				}
			}
		}

	}
  /* USER CODE END 5 */
}

void StartLineSensorTask(void const * argument)
{
  /* USER CODE BEGIN StartLineSensorTask */

  /* Infinite loop */
  for(;;)
  {
	  xSemaphoreTake(lineSensorSemaphoreHandle,portMAX_DELAY);
	  filter(clockLineCurrentSensor.adc_data, clockLineCurrentSensor.totalLines, 0.01, clockLineCurrentSensor.filteredData);

  }
  /* USER CODE END StartLineSensorTask */
}

void StartUartTask(void const * argument)
{
  /* USER CODE BEGIN StartUartTask */
  /* Infinite loop */
	for(;;)
	{
		if (xSemaphoreTake(uartSemaphoreHandle,portMAX_DELAY)==pdTRUE)
		{
			uartCmdParse(uartDataFrame);
			if (huart4.Instance->SR&USART_SR_ORE)
			{
				volatile uint8_t clear = huart4.Instance->DR;
			}
		}
	}
  /* USER CODE END StartUartTask */
}

void startUVLOTask(void const * argument)
{
  /* USER CODE BEGIN startUVLOTask */

	//HAL_ADC_Start(&hadc2);
	//HAL_TIM_Base_Start(&htim8);
	static float adcdata=0;
  /* Infinite loop */
  for(;;)
  {
	  xSemaphoreTake(uvloSemaphoreHandle,portMAX_DELAY);
	  if (adcdata==0) adcdata=ADC2->DR;									//Initialization ADC filtered buffer
	  filter((uint16_t*)&ADC2->DR, 1, 0.001, &adcdata);					//Anti-noise EMA filter with coefficient 0.001 (todo: tune coefficient)
      if (adcdata>=ADC2->HTR){											//Compare filtered value with high threshold. Voltage restored?
		  osDelay(1000);												//Wait for voltage stabilization
		  if (adcdata < ADC2->HTR)										//Debouncing. If voltage still low do nothing (todo: try to remove this part due to the presence of a filter)
		  {
			  continue;
		  }
		  notShutDownRPi_GPIO_Port->BSRR|= notShutDownRPi_Pin; 			//Reset NotShutdown to 1.
		  wakeUpRPi_GPIO_Port->BSRR |= wakeUpRPi_Pin;					//Set wakeUp to 1
		  osDelay(1000);
		  wakeUpRPi_GPIO_Port->BSRR |= (wakeUpRPi_Pin << 16);			//Reset wakeUp to 0
		  ADC2->HTR = 4095;												//Restore defaults for Analog WatchDog
		  ADC2->LTR = 3000;
	  }
	  else if (adcdata<ADC2->LTR)											//If voltage low
	  {
		  notShutDownRPi_GPIO_Port->BSRR |= (notShutDownRPi_Pin<<16) ;		//Call shutdown RPi
		  if (ADC2->LTR>500){												//Shift down AWD window
			  ADC2->HTR = ADC2->LTR;
			  ADC2->LTR = ADC2->LTR-500;
		  }

	  }
	  ADC2->CR1|=ADC_CR1_AWDEN;											//Enable AWD. (was disabled in callback)
  }
  /* USER CODE END startUVLOTask */
}

void StartSi4703_Task(void const * argument)
{
  /* USER CODE BEGIN StartSi4703_Task */
	uint8_t rdsReturnCode=0;
  /* Infinite loop */
	//HAL_I2C_Master_Transmit(&hi2c1, Si4703_ADDR, &addr, 0, 500);
	HAL_NVIC_DisableIRQ(EXTI9_5_IRQn);
	Si4703_Init();
	EXTI->PR|=EXTI_PR_PR9;
	HAL_NVIC_EnableIRQ(EXTI9_5_IRQn);
  for(;;)
  {
	  xSemaphoreTake(Si4703SemaphoreHandle,portMAX_DELAY);
	  xSemaphoreTake(Si4703MutexHandle, portMAX_DELAY);
	  Si4703_Read(Si4703_REGs);
	  xSemaphoreGive(Si4703MutexHandle);
	  rdsReturnCode=Si4703_RDS_Decode(&Si4703_REGs[12]);
	  switch(rdsReturnCode)
	  {
		  case RDS_TEXTA:
			  Si4703_SendTextToUART(&huart4, &Si4703_REGs[12],RDS_TEXTA);
		  break;
		  case RDS_TIME_DECODED:
			  Si4703_SendTimeToUART(&huart4, &Si4703_REGs[12]);
		  break;
	  }
	  HAL_NVIC_EnableIRQ(EXTI9_5_IRQn);
  }
  /* USER CODE END StartSi4703_Task */
}

void HAL_TIM_PeriodElapsedCallback(TIM_HandleTypeDef *htim)
{
  if (htim->Instance == TIM1) {
    HAL_IncTick();
  }
}

void Error_Handler(void)
{
}

/************************ (C) COPYRIGHT STMicroelectronics *****END OF FILE****/
